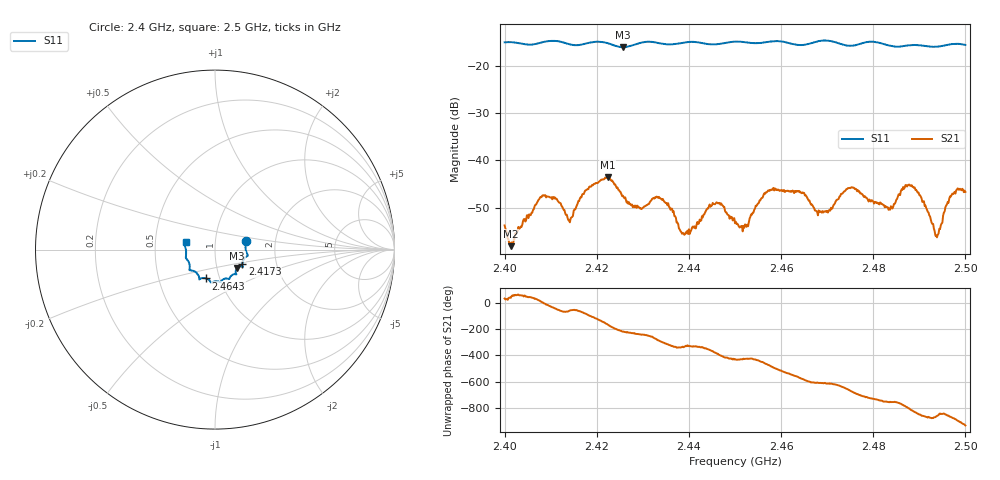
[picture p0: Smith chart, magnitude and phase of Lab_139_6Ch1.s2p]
# Hz S RI R 50
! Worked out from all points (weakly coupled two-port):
!   601 points, 2.4 GHz to 2.5 GHz, reference 50 ohm
!   highest |S21| = -43.60 dB at 2.4223 GHz (marker M1); lowest = -58.2 dB at 2.4013 GHz (marker M2)
!   lowest |S11| = -15.9 dB at 2.4257 GHz (marker M3), VSWR 1.38, Z = 62.5 - j13.1 ohm
!   |S11| at or under -10 dB: start of sweep to end of sweep
!   S12 and S22 are empty: the file has one direction only
!   S11 on the Smith chart (normalised r, x): 2.4 GHz: 1.41, +0.14; 2.4173 GHz: 1.34, -0.23; 2.4643 GHz: 0.86, -0.28; 2.5 GHz: 0.72, +0.06
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2.4e9  0.173 0.0497  0.00174 0.00107  0 0  0 0
2.401333e9  0.1749 0.0446  0.000979 0.000742  0 0  0 0
2.408167e9  0.1788 -0.0223  0.00422 0.000229  0 0  0 0
2.414167e9  0.1643 -0.0479  0.00114 -0.00188  0 0  0 0
2.416667e9  0.1529 -0.0746  0.00144 -0.00379  0 0  0 0
2.417333e9  0.1523 -0.082  0.000812 -0.00454  0 0  0 0
2.422333e9  0.1497 -0.0938  -0.00637 -0.00175  0 0  0 0
2.425667e9  0.1227 -0.1023  -0.0032 0.00276  0 0  0 0
2.433333e9  0.1127 -0.1366  0.00108 0.00386  0 0  0 0
2.438667e9  0.0816 -0.1581  0.00153 0.000737  0 0  0 0
2.445667e9  0.0501 -0.1637  0.00322 -0.00116  0 0  0 0
2.45e9  0.0296 -0.1809  0.000768 -0.00201  0 0  0 0
2.4525e9  0.0204 -0.1784  0.000787 -0.00181  0 0  0 0
2.457833e9  -0.0177 -0.183  -0.00275 -0.00404  0 0  0 0
2.464333e9  -0.0504 -0.1606  -0.00366 0.00274  0 0  0 0
2.466667e9  -0.0763 -0.1598  -0.00138 0.00312  0 0  0 0
2.475333e9  -0.1099 -0.1238  0.00367 0.00369  0 0  0 0
2.483333e9  -0.1408 -0.0895  0.00245 -0.00171  0 0  0 0
2.488167e9  -0.1608 -0.0499  -0.00052 -0.00534  0 0  0 0
2.493833e9  -0.1618 -0.00327  -0.0012 -0.000946  0 0  0 0
2.497e9  -0.1702 0.0265  -0.00379 -0.00199  0 0  0 0
2.5e9  -0.1636 0.0422  -0.00385 0.00258  0 0  0 0
